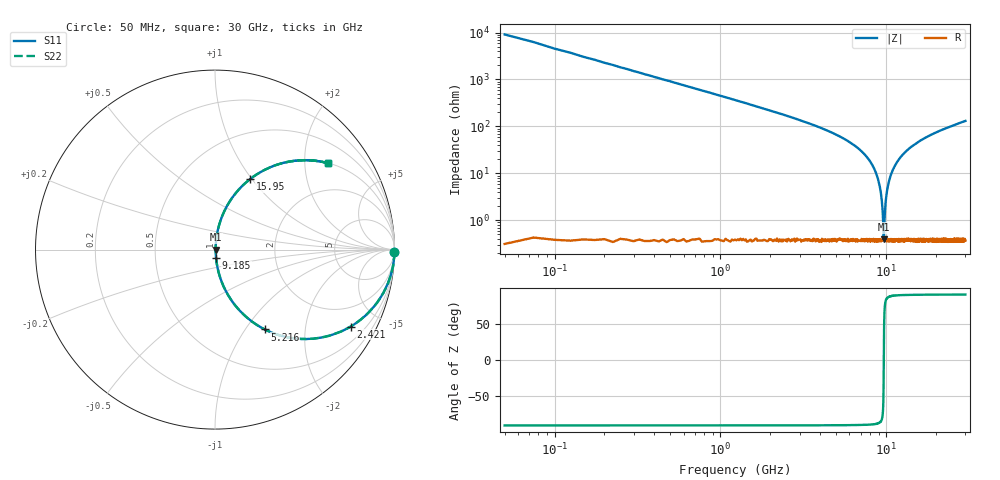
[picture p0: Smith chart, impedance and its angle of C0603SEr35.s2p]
!	AVX Thin Film Operation 	Date: April 2014
!	Description: Accu-P® Series, Thin Film  SMD RF Capacitor
!	Part Number: 06031JR35ZBSTR
# MHZ S MA R 50
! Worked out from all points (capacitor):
!   1201 points, 50 MHz to 30 GHz, reference 50 ohm
!   read as one part in series: C = 350 fF near 199.8 MHz
!   lowest |Z| = 392 mohm at 9.659 GHz (marker M1)
!   series resonance near 9.664 GHz, so ESL is about 780 pH
!   S11 on the Smith chart (normalised r, x): 50 MHz: open; 2.421 GHz: 1.01, -3.52; 5.216 GHz: 1.01, -1.24; 9.185 GHz: 1.01, -0.10; 15.95 GHz: 1.01, +0.98; 30 GHz: 1.01, +2.62
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50  1 -0.6  0.011 89.4  0.011 89.4  1 -0.6
324.542  0.997 -4.1  0.071 85.9  0.071 85.9  0.997 -4.1
698.917  0.988 -8.8  0.153 81.2  0.153 81.2  0.988 -8.8
1397.75  0.954 -17.4  0.299 72.5  0.299 72.5  0.954 -17.4
2421.042  0.869 -29.6  0.493 60.3  0.493 60.3  0.869 -29.6
5041.667  0.547 -56.5  0.834 33.2  0.834 33.2  0.547 -56.5
5216.375  0.524 -58.0  0.848 31.6  0.848 31.6  0.524 -58.0
7837  0.194 -77.7  0.977 11.2  0.977 11.2  0.194 -77.7
8660.625  0.102 -82.0  0.991 5.9  0.991 5.9  0.102 -82.0
9184.75  0.048 -82.8  0.995 2.7  0.995 2.7  0.048 -82.8
9359.458  0.03 -81.1  0.996 1.7  0.996 1.7  0.03 -81.1
9559.125  0.011 -69.1  0.996 0.6  0.996 0.6  0.011 -69.1
9658.958  0.003793 -6.7  0.996 0.0  0.996 0.0  0.003793 -6.7
9758.792  0.009939 67.2  0.996 -0.5  0.996 -0.5  0.009939 67.2
10058.29  0.038 82.1  0.996 -2.1  0.996 -2.1  0.038 82.1
10607.38  0.087 82.5  0.992 -5.0  0.992 -5.0  0.087 82.5
11580.75  0.168 79.1  0.982 -9.7  0.982 -9.7  0.168 79.1
15025  0.393 66.4  0.916 -23.1  0.916 -23.1  0.393 66.4
15948.46  0.44 63.5  0.895 -26.1  0.895 -26.1  0.44 63.5
20016.67  0.597 53.0  0.799 -36.7  0.799 -36.7  0.597 53.0
25033.29  0.719 43.8  0.693 -45.9  0.693 -45.9  0.719 43.8
30000  0.794 37.3  0.606 -52.5  0.606 -52.5  0.794 37.3
